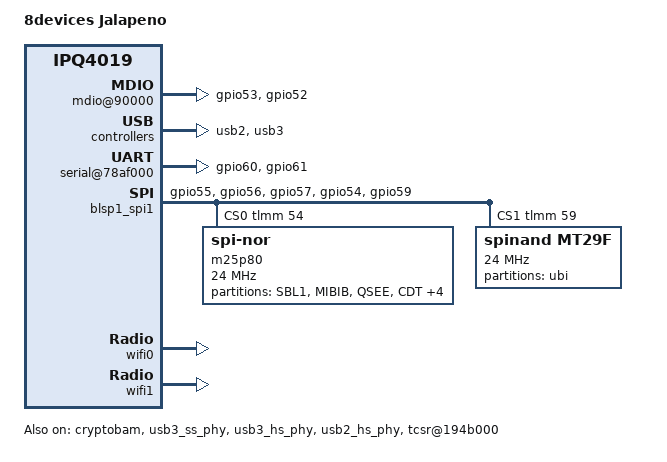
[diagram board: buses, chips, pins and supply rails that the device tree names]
/* Copyright (c) 2015, The Linux Foundation. All rights reserved.
 * Copyright (c) 2018, Robert Marko <robimarko@gmail.com>
 *
 * Permission to use, copy, modify, and/or distribute this software for any
 * purpose with or without fee is hereby granted, provided that the above
 * copyright notice and this permission notice appear in all copies.
 *
 * THE SOFTWARE IS PROVIDED "AS IS" AND THE AUTHOR DISCLAIMS ALL WARRANTIES
 * WITH REGARD TO THIS SOFTWARE INCLUDING ALL IMPLIED WARRANTIES OF
 * MERCHANTABILITY AND FITNESS. IN NO EVENT SHALL THE AUTHOR BE LIABLE FOR
 * ANY SPECIAL, DIRECT, INDIRECT, OR CONSEQUENTIAL DAMAGES OR ANY DAMAGES
 * WHATSOEVER RESULTING FROM LOSS OF USE, DATA OR PROFITS, WHETHER IN AN
 * ACTION OF CONTRACT, NEGLIGENCE OR OTHER TORTIOUS ACTION, ARISING OUT OF
 * OR IN CONNECTION WITH THE USE OR PERFORMANCE OF THIS SOFTWARE.
 *
 */

#include "qcom-ipq4019.dtsi"
#include <dt-bindings/gpio/gpio.h>
#include <dt-bindings/input/input.h>
#include <dt-bindings/soc/qcom,tcsr.h>

/ {
	model = "8devices Jalapeno";
	compatible = "8dev,jalapeno", "qcom,ipq4019";

	soc {
		mdio@90000 {
			status = "okay";
			pinctrl-0 = <&mdio_pins>;
			pinctrl-names = "default";
		};

		ess-psgmii@98000 {
			status = "okay";
		};

		counter@4a1000 {
			compatible = "qcom,qca-gcnt";
			reg = <0x4a1000 0x4>;
		};

		tcsr@1949000 {
			compatible = "qcom,tcsr";
			reg = <0x1949000 0x100>;
			qcom,wifi_glb_cfg = <TCSR_WIFI_GLB_CFG>;
		};

		tcsr@194b000 {
			/* select hostmode */
			compatible = "qcom,tcsr";
			reg = <0x194b000 0x100>;
			qcom,usb-hsphy-mode-select = <TCSR_USB_HSPHY_HOST_MODE>;
			status = "okay";
		};

		ess_tcsr@1953000 {
			compatible = "qcom,tcsr";
			reg = <0x1953000 0x1000>;
			qcom,ess-interface-select = <TCSR_ESS_PSGMII>;
		};

		tcsr@1957000 {
			compatible = "qcom,tcsr";
			reg = <0x1957000 0x100>;
			qcom,wifi_noc_memtype_m0_m2 = <TCSR_WIFI_NOC_MEMTYPE_M0_M2>;
		};

		usb2: usb2@60f8800 {
			status = "okay";
		};

		serial@78af000 {
			pinctrl-0 = <&serial_pins>;
			pinctrl-names = "default";
			status = "okay";
		};

		usb3: usb3@8af8800 {
			status = "okay";
		};

		crypto@8e3a000 {
			status = "okay";
		};

		watchdog@b017000 {
			status = "okay";
		};

		ess-switch@c000000 {
			status = "okay";
			switch_lan_bmp = <0x10>; /* lan port bitmap */
		};

		edma@c080000 {
			status = "okay";
		};
	};
};

&tlmm {
	mdio_pins: mdio_pinmux {
		pinmux_1 {
			pins = "gpio53";
			function = "mdio";
		};
		pinmux_2 {
			pins = "gpio52";
			function = "mdc";
		};
		pinconf {
			pins = "gpio52", "gpio53";
			bias-pull-up;
		};
	};

	serial_pins: serial_pinmux {
		mux {
			pins = "gpio60", "gpio61";
			function = "blsp_uart0";
			bias-disable;
		};
	};

	spi_0_pins: spi_0_pinmux {
		pin {
			function = "blsp_spi0";
			pins = "gpio55", "gpio56", "gpio57";
			drive-strength = <2>;
			bias-disable;
		};
		pin_cs {
			function = "gpio";
			pins = "gpio54", "gpio59";
			drive-strength = <2>;
			bias-disable;
			output-high;
		};
	};
};

&blsp_dma {
	status = "okay";
};

&blsp1_spi1 {
	pinctrl-0 = <&spi_0_pins>;
	pinctrl-names = "default";
	cs-gpios = <&tlmm 54 GPIO_ACTIVE_HIGH>, <&tlmm 59 GPIO_ACTIVE_HIGH>;
	status = "okay";

	m25p80@0 {
		#address-cells = <1>;
		#size-cells = <0>;
		reg = <0>;
		compatible = "jedec,spi-nor";
		spi-max-frequency = <24000000>;

		partitions {
			compatible = "fixed-partitions";
			#address-cells = <1>;
			#size-cells = <1>;

			partition0@0 {
				label = "SBL1";
				reg = <0x00000000 0x00040000>;
				read-only;
			};
			partition1@40000 {
				label = "MIBIB";
				reg = <0x00040000 0x00020000>;
				read-only;
			};
			partition2@60000 {
				label = "QSEE";
				reg = <0x00060000 0x00060000>;
				read-only;
			};
			partition3@c0000 {
				label = "CDT";
				reg = <0x000c0000 0x00010000>;
				read-only;
			};
			partition4@d0000 {
				label = "DDRPARAMS";
				reg = <0x000d0000 0x00010000>;
				read-only;
			};
			partition5@e0000 {
				label = "APPSBLENV"; /* uboot env*/
				reg = <0x000e0000 0x00010000>;
				read-only;
			};
			partition5@f0000 {
				label = "APPSBL"; /* uboot */
				reg = <0x000f0000 0x00080000>;
				read-only;
			};
			partition5@170000 {
				label = "ART";
				reg = <0x00170000 0x00010000>;
				read-only;
			};
		};
	};

	mt29f@1 {
		status = "okay";
		#address-cells = <1>;
		#size-cells = <0>;
		compatible = "spinand,mt29f", "w25n01gv";
		reg = <1>;
		spi-max-frequency = <24000000>;
		partitions {
			compatible = "fixed-partitions";
			#address-cells = <1>;
			#size-cells = <1>;

			partition0@0 {
				label = "ubi";
				reg = <0x00000000 0x08000000>;
			};
		};
	};
};

&cryptobam {
	status = "okay";
};

&gmac0 {
	vlan_tag = <1 0x31>;
};

&wifi0 {
	status = "okay";
	qcom,ath10k-calibration-variant = "8devices-Jalapeno";
};

&wifi1 {
	status = "okay";
	qcom,ath10k-calibration-variant = "8devices-Jalapeno";
};

&usb3_ss_phy {
	status = "okay";
};

&usb3_hs_phy {
	status = "okay";
};

&usb2_hs_phy {
	status = "okay";
};
